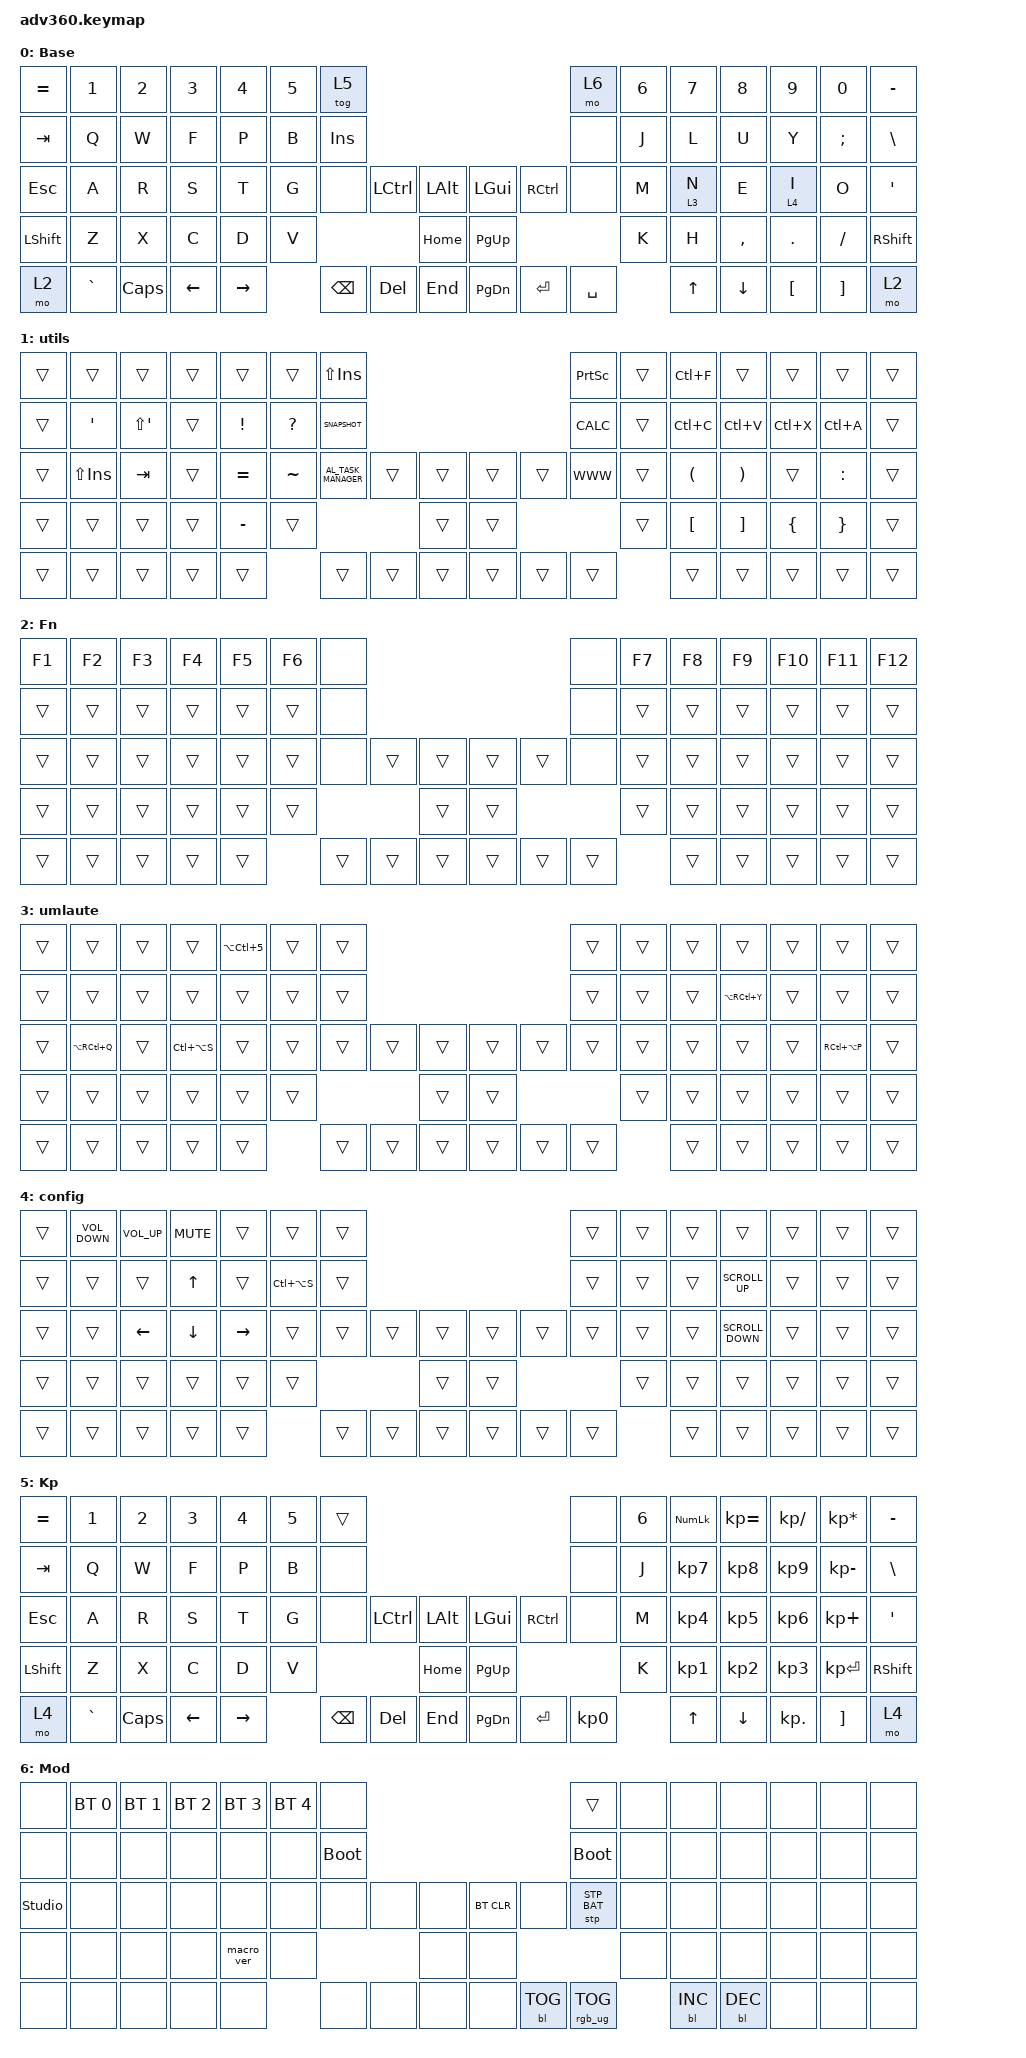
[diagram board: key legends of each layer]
#include <dt-bindings/zmk/stp.h>
#include <behaviors.dtsi>
#include <dt-bindings/zmk/backlight.h>
#include <dt-bindings/zmk/bt.h>
#include <dt-bindings/zmk/keys.h>
#include <dt-bindings/zmk/rgb.h>

/ {
    behaviors {
        #include "macros.dtsi"
      #include "version.dtsi"

        hm: homerow_mods {
            compatible = "zmk,behavior-hold-tap";
            label = "HOMEROW_MODS";
            #binding-cells = <2>;
            tapping-term-ms = <200>;
            quick_tap_ms = <175>;
            flavor = "tap-preferred";
            bindings = <&kp>, <&kp>;
        };
    };

    keymap {
        compatible = "zmk,keymap";

        default_layer {
            display-name = "Base";
            bindings = <
&kp EQUAL  &kp N1     &kp N2    &kp N3    &kp N4     &kp N5  &tog 5                                                   &mo 6      &kp N6  &kp N7   &kp N8     &kp N9    &kp N0         &kp MINUS
&kp TAB    &kp Q      &kp W     &kp F     &kp P      &kp B   &kp INS                                                  &none      &kp J   &kp L    &kp U      &kp Y     &kp SEMICOLON  &kp BSLH
&kp ESC    &kp A      &kp R     &kp S     &kp T      &kp G   &none     &kp LCTRL  &kp LALT      &kp LGUI   &kp RCTRL  &none      &kp M   &lt 3 N  &kp E      &lt 4 I   &kp O          &kp SQT
&kp LSHFT  &kp Z      &kp X     &kp C     &kp D      &kp V                        &kp HOME      &kp PG_UP                        &kp K   &kp H    &kp COMMA  &kp DOT   &kp FSLH       &kp RSHFT
&mo 2      &kp GRAVE  &kp CAPS  &kp LEFT  &kp RIGHT          &kp BSPC  &kp DEL    &kp END       &kp PG_DN  &kp ENTER  &kp SPACE          &kp UP   &kp DOWN   &kp LBKT  &kp RBKT       &mo 2
            >;
        };

        utils {
            bindings = <
&trans  &trans       &trans       &trans  &trans           &trans        &kp LS(INS)                                                &kp PRINTSCREEN  &trans  &kp LC(F)             &trans                 &trans          &trans           &trans
&trans  &kp SQT      &kp LS(SQT)  &trans  &kp EXCLAMATION  &kp QUESTION  &kp C_SNAPSHOT                                             &kp K_CALC       &trans  &kp LC(C)             &kp LC(V)              &kp LC(X)       &kp LC(A)        &trans
&trans  &kp LS(INS)  &kp TAB      &trans  &kp EQUAL        &kp TILDE     &kp C_AL_TASK_MANAGER  &trans  &trans      &trans  &trans  &kp K_WWW        &trans  &kp LEFT_PARENTHESIS  &kp RIGHT_PARENTHESIS  &trans          &kp COLON        &trans
&trans  &trans       &trans       &trans  &kp MINUS        &trans                                       &trans      &trans                           &trans  &kp LEFT_BRACKET      &kp RIGHT_BRACKET      &kp LEFT_BRACE  &kp RIGHT_BRACE  &trans
&trans  &trans       &trans       &trans  &trans                         &trans                 &trans  &trans      &trans  &trans  &trans                   &trans                &trans                 &trans          &trans           &trans
            >;
        };

        fn {
            display-name = "Fn";
            bindings = <
&kp F1  &kp F2  &kp F3  &kp F4  &kp F5  &kp F6  &none                                       &none   &kp F7  &kp F8  &kp F9  &kp F10  &kp F11  &kp F12
&trans  &trans  &trans  &trans  &trans  &trans  &none                                       &none   &trans  &trans  &trans  &trans   &trans   &trans
&trans  &trans  &trans  &trans  &trans  &trans  &none   &trans  &trans      &trans  &trans  &none   &trans  &trans  &trans  &trans   &trans   &trans
&trans  &trans  &trans  &trans  &trans  &trans                  &trans      &trans                  &trans  &trans  &trans  &trans   &trans   &trans
&trans  &trans  &trans  &trans  &trans          &trans  &trans  &trans      &trans  &trans  &trans          &trans  &trans  &trans   &trans   &trans
            >;
        };

        umlaute {
            bindings = <
&trans  &trans         &trans  &trans         &kp LA(LC(N5))  &trans  &trans                                      &trans  &trans  &trans  &trans         &trans  &trans         &trans
&trans  &trans         &trans  &trans         &trans          &trans  &trans                                      &trans  &trans  &trans  &kp LA(RC(Y))  &trans  &trans         &trans
&trans  &kp LA(RC(Q))  &trans  &kp LC(LA(S))  &trans          &trans  &trans  &trans  &trans      &trans  &trans  &trans  &trans  &trans  &trans         &trans  &kp RC(LA(P))  &trans
&trans  &trans         &trans  &trans         &trans          &trans                  &trans      &trans                  &trans  &trans  &trans         &trans  &trans         &trans
&trans  &trans         &trans  &trans         &trans                  &trans  &trans  &trans      &trans  &trans  &trans          &trans  &trans         &trans  &trans         &trans
            >;
        };

        config {
            bindings = <
&trans  &kp C_VOLUME_DOWN  &kp C_VOLUME_UP  &kp K_MUTE      &trans           &trans         &trans                                      &trans  &trans  &trans  &trans             &trans  &trans  &trans
&trans  &trans             &trans           &kp UP_ARROW    &trans           &kp LC(LA(S))  &trans                                      &trans  &trans  &trans  &kp K_SCROLL_UP    &trans  &trans  &trans
&trans  &trans             &kp LEFT_ARROW   &kp DOWN_ARROW  &kp RIGHT_ARROW  &trans         &trans  &trans  &trans      &trans  &trans  &trans  &trans  &trans  &kp K_SCROLL_DOWN  &trans  &trans  &trans
&trans  &trans             &trans           &trans          &trans           &trans                         &trans      &trans                  &trans  &trans  &trans             &trans  &trans  &trans
&trans  &trans             &trans           &trans          &trans                          &trans  &trans  &trans      &trans  &trans  &trans          &trans  &trans             &trans  &trans  &trans
            >;
        };

        keypad {
            display-name = "Kp";
            bindings = <
&kp EQUAL  &kp N1     &kp N2    &kp N3    &kp N4     &kp N5  &trans                                                   &none      &kp N6  &kp KP_NUM  &kp KP_EQUAL  &kp KP_DIVIDE  &kp KP_MULTIPLY  &kp MINUS
&kp TAB    &kp Q      &kp W     &kp F     &kp P      &kp B   &none                                                    &none      &kp J   &kp KP_N7   &kp KP_N8     &kp KP_N9      &kp KP_MINUS     &kp BSLH
&kp ESC    &kp A      &kp R     &kp S     &kp T      &kp G   &none     &kp LCTRL  &kp LALT      &kp LGUI   &kp RCTRL  &none      &kp M   &kp KP_N4   &kp KP_N5     &kp KP_N6      &kp KP_PLUS      &kp SQT
&kp LSHFT  &kp Z      &kp X     &kp C     &kp D      &kp V                        &kp HOME      &kp PG_UP                        &kp K   &kp KP_N1   &kp KP_N2     &kp KP_N3      &kp KP_ENTER     &kp RSHFT
&mo 4      &kp GRAVE  &kp CAPS  &kp LEFT  &kp RIGHT          &kp BSPC  &kp DEL    &kp END       &kp PG_DN  &kp ENTER  &kp KP_N0          &kp UP      &kp DOWN      &kp KP_DOT     &kp RBKT         &mo 4
            >;
        };

        mod {
            display-name = "Mod";
            bindings = <
&none           &bt BT_SEL 0  &bt BT_SEL 1  &bt BT_SEL 2  &bt BT_SEL 3  &bt BT_SEL 4  &none                                                  &trans           &none  &none       &none       &none  &none  &none
&none           &none         &none         &none         &none         &none         &bootloader                                            &bootloader      &none  &none       &none       &none  &none  &none
&studio_unlock  &none         &none         &none         &none         &none         &none        &none  &none      &bt BT_CLR  &none       &stp STP_BAT     &none  &none       &none       &none  &none  &none
&none           &none         &none         &none         &macro_ver    &none                             &none      &none                                    &none  &none       &none       &none  &none  &none
&none           &none         &none         &none         &none                       &none        &none  &none      &none       &bl BL_TOG  &rgb_ug RGB_TOG         &bl BL_INC  &bl BL_DEC  &none  &none  &none
            >;
        };
    };
};
